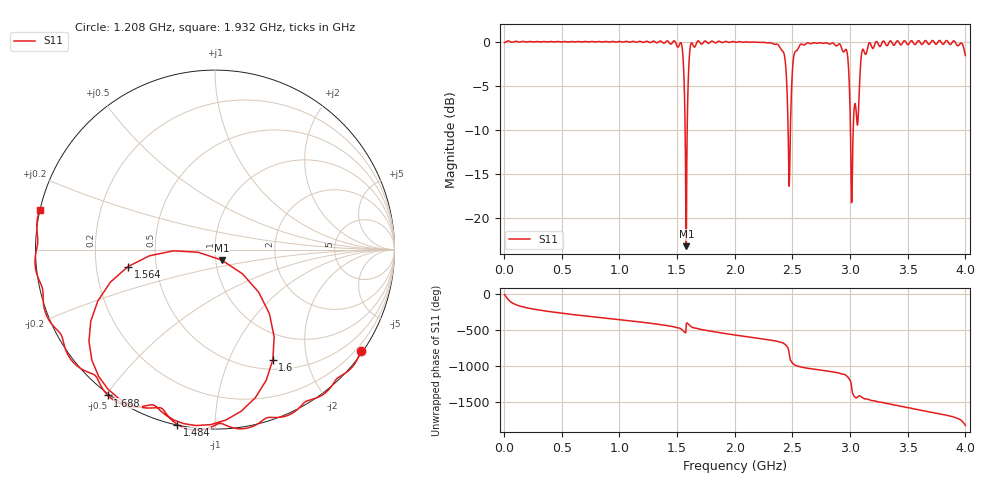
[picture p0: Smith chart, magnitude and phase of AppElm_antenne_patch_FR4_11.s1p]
! TOUCHSTONE file generated by CST MICROWAVE STUDIO
! Date and time: Tue Jun 14 12:33:53 2022
! Project name: AppElm_antenne_patch_FR4.cst
! Parameters = {L=45; W=58.5; e=0.035; h=1.6; lambda=0.190476; ls=120; w0=2.54; w1=1.0587; ws=120; y0=18; y1=23.8}
! Header version: 2018
! Port assignment regex: !\s*Touchstone port\s*([0-9]+)\s*=\s*(CST MWS port|CST DS port)\s*([0-9]+|Zmin|Zmax)\s*\(\"(.*)\"\)(\s*mode\s*([0-9]+))?.*
! Touchstone port assignment:
! Touchstone port 1 = CST MWS port 1 ("")
# GHz S MA R 50
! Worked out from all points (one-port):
!   1000 points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, 4 MHz to 4 GHz, reference 50 ohm
!   lowest |S11| = -23.1 dB at 1.58 GHz (marker M1), VSWR 1.15, Z = 53.5 - j6.3 ohm
!   |S11| at or under -10 dB: 1.569 GHz to 1.587 GHz (18.14 MHz wide, 1.15 % of centre); 2.462 GHz to 2.483 GHz (20.03 MHz wide, 0.81 % of centre); 3.003 GHz to 3.027 GHz (23.84 MHz wide, 0.791 % of centre)
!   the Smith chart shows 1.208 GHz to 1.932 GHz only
!   S11 on the Smith chart (normalised r, x): 1.208 GHz: 0.05, -3.18; 1.484 GHz: 0.00, -0.81; 1.564 GHz: 0.34, -0.09; 1.6 GHz: 0.62, -1.47; 1.688 GHz: -0.01, -0.51; 1.932 GHz: -0.00, +0.11
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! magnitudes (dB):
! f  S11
! 4 MHz  -0.1
! 504 MHz  0.0
! 1.004 GHz  0.0
! 1.208 GHz  -0.1
! 1.484 GHz  0.0
! 1.504 GHz  -0.6
! 1.544 GHz  -0.7
! 1.564 GHz  -6.1
! 1.58 GHz  -23.1
! 1.6 GHz  -3.2
! 1.62 GHz  -0.2
! 1.688 GHz  0.1
! 1.932 GHz  0.0
! 2.004 GHz  -0.1
! 2.408 GHz  -1.0
! 2.436 GHz  -2.0
! 2.46 GHz  -8.5
! 2.472 GHz  -16.3
! 2.484 GHz  -9.0
! 2.504 GHz  -2.6
! 2.576 GHz  -0.3
! 2.912 GHz  -0.3
! 2.972 GHz  -1.1
! 3.004 GHz  -10.5
! 3.028 GHz  -9.5
! 3.116 GHz  -0.9
! 3.504 GHz  -0.3
! 4 GHz  -1.6
